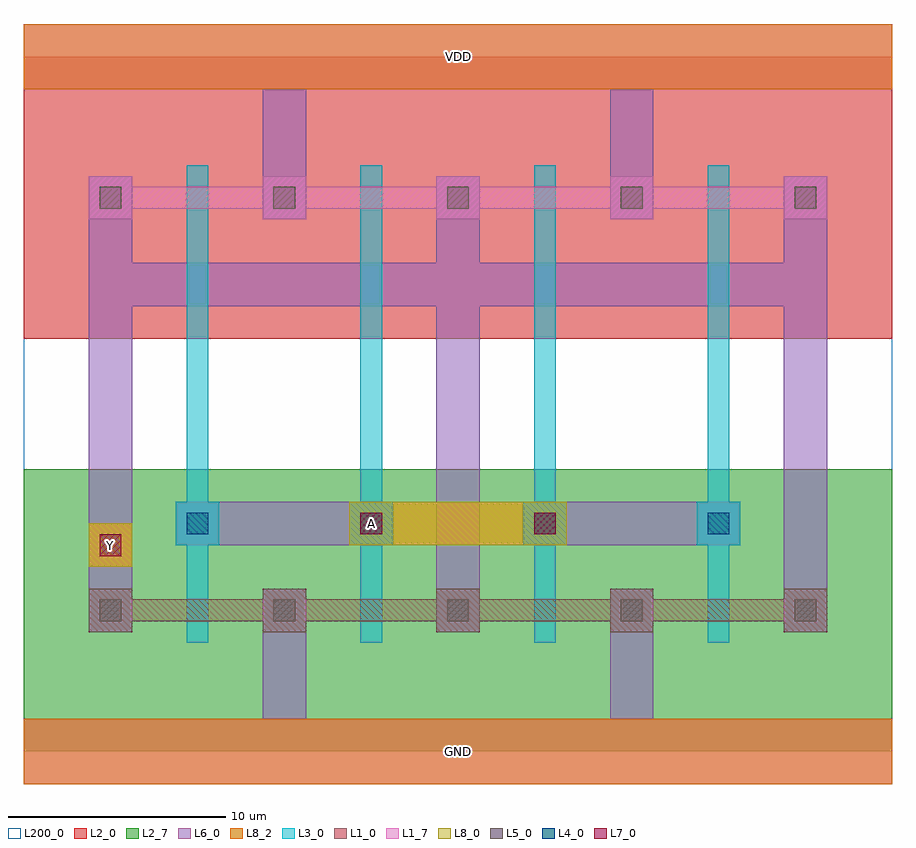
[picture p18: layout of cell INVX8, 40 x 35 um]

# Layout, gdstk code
import gdstk
lib = gdstk.Library(unit=1e-6, precision=1e-09)
def R(c, l, rs):  # rectangles x0, y0, x1, y1
    for r in rs: c.add(gdstk.rectangle(r[:2], r[2:], *l))
def A(c, l, x, y, w, h, nx, ny, dx, dy):  # array of equal rectangles
    R(c, l, [(x+i*dx, y+j*dy, x+i*dx+w, y+j*dy+h) for i in range(nx) for j in range(ny)])
def P(c, l, *ps):  # polygons
    for p in ps: c.add(gdstk.Polygon(p, *l))
L1_0 = (1, 0)
L1_7 = (1, 7)
L2_0 = (2, 0)
L2_7 = (2, 7)
L3_0 = (3, 0)
L4_0 = (4, 0)
L5_0 = (5, 0)
L6_0 = (6, 0)
L7_0 = (7, 0)
L8_0 = (8, 0)
L8_2 = (8, 2)
L200_0 = (200, 0)

invx8 = lib.new_cell('INVX8')
P(invx8, L1_0, [(3,5.5),(3,7.5),(5,7.5),(5,7),(11,7),(11,7.5),(13,7.5),(13,7),(19,7),(19,7.5),(21,7.5),(21,7),(27,7),(27,7.5),(29,7.5),(29,7),(35,7),(35,7.5),(37,7.5),(37,5.5),(35,5.5),(35,6),(29,6),(29,5.5),(27,5.5),(27,6),(21,6),(21,5.5),(19,5.5),(19,6),(13,6),(13,5.5),(11,5.5),(11,6),(5,6),(5,5.5)])
P(invx8, L1_7, [(3,24.5),(3,26.5),(5,26.5),(5,26),(11,26),(11,26.5),(13,26.5),(13,26),(19,26),(19,26.5),(21,26.5),(21,26),(27,26),(27,26.5),(29,26.5),(29,26),(35,26),(35,26.5),(37,26.5),(37,24.5),(35,24.5),(35,25),(29,25),(29,24.5),(27,24.5),(27,25),(21,25),(21,24.5),(19,24.5),(19,25),(13,25),(13,24.5),(11,24.5),(11,25),(5,25),(5,24.5)])
R(invx8, L2_0, [(0,19,40,32)])
R(invx8, L2_7, [(0,0,40,13)])
P(invx8, L3_0, [(7.5,5),(7.5,9.5),(7,9.5),(7,11.5),(7.5,11.5),(7.5,27),(8.5,27),(8.5,11.5),(9,11.5),(9,9.5),(8.5,9.5),(8.5,5)],
  [(15.5,5),(15.5,9.5),(15,9.5),(15,11.5),(15.5,11.5),(15.5,27),(16.5,27),(16.5,11.5),(17,11.5),(17,9.5),(16.5,9.5),(16.5,5)],
  [(23.5,5),(23.5,9.5),(23,9.5),(23,11.5),(23.5,11.5),(23.5,27),(24.5,27),(24.5,11.5),(25,11.5),(25,9.5),(24.5,9.5),(24.5,5)],
  [(31.5,5),(31.5,9.5),(31,9.5),(31,11.5),(31.5,11.5),(31.5,27),(32.5,27),(32.5,11.5),(33,11.5),(33,9.5),(32.5,9.5),(32.5,5)])
A(invx8, L4_0, 7.5, 10, 1, 1, 4, 1, 8, 0)
A(invx8, L5_0, 3.5, 6, 1, 1, 5, 2, 8, 19)
R(invx8, L6_0, [(7,9.5,17,11.5), (23,9.5,33,11.5)])
P(invx8, L6_0, [(0,-1.5),(0,1.5),(11,1.5),(11,7.5),(13,7.5),(13,1.5),(27,1.5),(27,7.5),(29,7.5),(29,1.5),(40,1.5),(40,-1.5)],
  [(3,5.5),(3,26.5),(5,26.5),(5,22.5),(19,22.5),(19,26.5),(21,26.5),(21,22.5),(35,22.5),(35,26.5),(37,26.5),(37,5.5),(35,5.5),(35,20.5),(21,20.5),(21,5.5),(19,5.5),(19,20.5),(5,20.5),(5,5.5)],
  [(11,24.5),(11,30.5),(0,30.5),(0,33.5),(40,33.5),(40,30.5),(29,30.5),(29,24.5),(27,24.5),(27,30.5),(13,30.5),(13,24.5)])
R(invx8, L7_0, [(3.5,9,4.5,10), (15.5,10,16.5,11), (23.5,10,24.5,11)])
R(invx8, L8_0, [(3,8.5,5,10.5), (15,9.5,25,11.5)])
R(invx8, L8_2, [(3,8.5,5,10.5), (15,9.5,25,11.5)])
R(invx8, L200_0, [(0,0,40,32)])
invx8.add(gdstk.FlexPath([(0,32),(40,32)], 3, ends="flush", simple_path=True, layer=8, datatype=2))  # L8_2
invx8.add(gdstk.FlexPath([(0,0),(40,0)], 3, ends="flush", simple_path=True, layer=8, datatype=2))  # L8_2
invx8.add(gdstk.Label('GND', (20,0), layer=6, texttype=1))
invx8.add(gdstk.Label('VDD', (20,32), layer=6, texttype=1))
invx8.add(gdstk.Label('A', (16,10.5), layer=8, texttype=1))
invx8.add(gdstk.Label('Y', (4,9.5), layer=8, texttype=1))

lib.write_gds('INVX8.gds')
